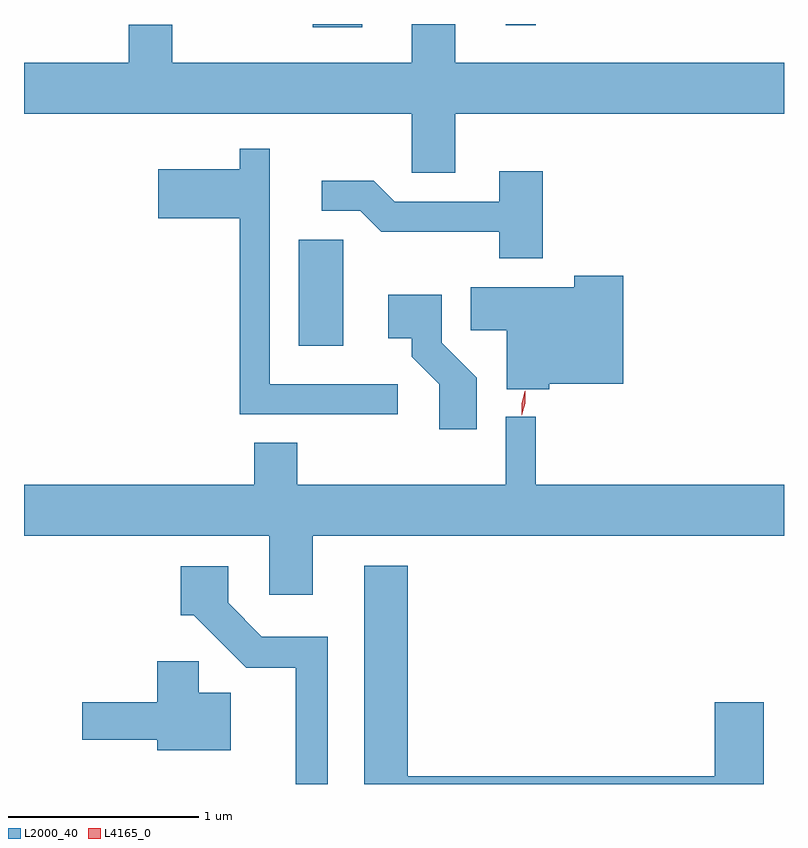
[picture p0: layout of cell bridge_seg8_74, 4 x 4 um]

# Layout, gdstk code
import gdstk
lib = gdstk.Library(unit=1e-6, precision=1e-09)
def R(c, l, rs):  # rectangles x0, y0, x1, y1
    for r in rs: c.add(gdstk.rectangle(r[:2], r[2:], *l))
def P(c, l, *ps):  # polygons
    for p in ps: c.add(gdstk.Polygon(p, *l))
L2000_40 = (2000, 40)
L4165_0 = (4165, 0)

bridge_seg8_74 = lib.new_cell('bridge_seg8_74')
R(bridge_seg8_74, L2000_40, [(1543.966,1846.296,1544.199,1846.854), (1544.041,1847.971,1544.299,1847.989), (1545.056,1847.983,1545.214,1847.989)])
P(bridge_seg8_74, L2000_40, [(1544.561,1847.206),(1544.789,1847.206),(1544.789,1847.516),(1546.52,1847.516),(1546.52,1847.784),(1544.789,1847.784),(1544.789,1847.989),(1544.561,1847.989),(1544.561,1847.784),(1543.299,1847.784),(1543.299,1847.984),(1543.071,1847.984),(1543.071,1847.784),(1542.52,1847.784),(1542.52,1847.516),(1544.561,1847.516)],
  [(1544.488,1846.094),(1543.814,1846.094),(1543.814,1847.333),(1543.656,1847.333),(1543.656,1847.224),(1543.226,1847.224),(1543.226,1846.966),(1543.656,1846.966),(1543.656,1845.936),(1544.488,1845.936)],
  [(1545.249,1847.214),(1545.021,1847.214),(1545.021,1847.054),(1544.472,1847.054),(1544.362,1847.164),(1544.088,1847.164),(1544.088,1847.006),(1544.289,1847.006),(1544.399,1846.896),(1545.021,1846.896),(1545.021,1846.756),(1545.249,1846.756)],
  [(1545.284,1846.096),(1545.674,1846.096),(1545.674,1846.664),(1545.416,1846.664),(1545.416,1846.604),(1544.871,1846.604),(1544.871,1846.376),(1545.061,1846.376),(1545.061,1846.066),(1545.284,1846.066)],
  [(1544.904,1846.127),(1544.719,1846.312),(1544.719,1846.564),(1544.436,1846.564),(1544.436,1846.336),(1544.561,1846.336),(1544.561,1846.239),(1544.706,1846.094),(1544.706,1845.856),(1544.904,1845.856)],
  [(1543.731,1845.784),(1543.731,1845.564),(1542.52,1845.564),(1542.52,1845.296),(1543.811,1845.296),(1543.811,1844.986),(1544.039,1844.986),(1544.039,1845.296),(1546.52,1845.296),(1546.52,1845.564),(1545.214,1845.564),(1545.214,1845.923),(1545.056,1845.923),(1545.056,1845.564),(1543.959,1845.564),(1543.959,1845.784)],
  [(1546.414,1844.419),(1546.156,1844.419),(1546.156,1844.029),(1544.539,1844.029),(1544.539,1845.139),(1544.311,1845.139),(1544.311,1843.989),(1546.414,1843.989)],
  [(1544.119,1844.764),(1543.772,1844.764),(1543.594,1844.942),(1543.594,1845.134),(1543.346,1845.134),(1543.346,1844.876),(1543.414,1844.876),(1543.689,1844.601),(1543.951,1844.601),(1543.951,1843.989),(1544.119,1843.989)],
  [(1543.609,1844.469),(1543.439,1844.469),(1543.439,1844.634),(1543.221,1844.634),(1543.221,1844.419),(1542.826,1844.419),(1542.826,1844.221),(1543.221,1844.221),(1543.221,1844.166),(1543.609,1844.166)])
P(bridge_seg8_74, L4165_0, [(1545.14,1845.929),(1545.139,1845.994),(1545.156,1846.057),(1545.157,1846.058),(1545.157,1846.057),(1545.159,1845.992),(1545.141,1845.929),(1545.141,1845.929)])

lib.write_gds('bridge_seg8_74.gds')
